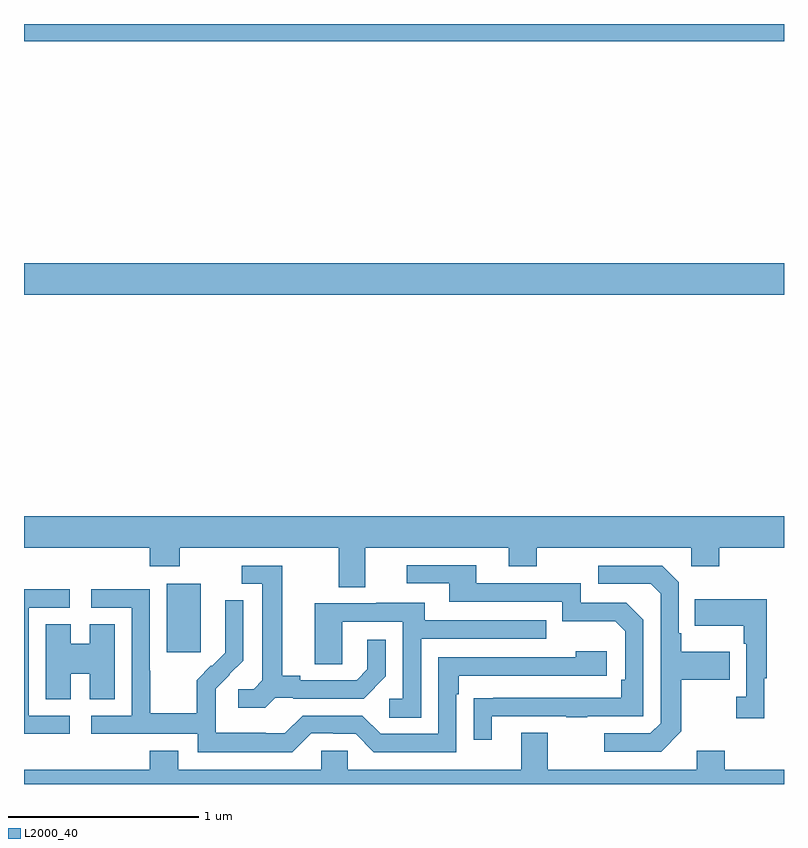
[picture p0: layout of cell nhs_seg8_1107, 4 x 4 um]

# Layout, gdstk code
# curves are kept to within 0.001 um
import gdstk
lib = gdstk.Library(unit=1e-6, precision=1e-09)
def R(c, l, rs):  # rectangles x0, y0, x1, y1
    for r in rs: c.add(gdstk.rectangle(r[:2], r[2:], *l))
def P(c, l, *ps):  # polygons
    for p in ps: c.add(gdstk.Polygon(p, *l))
L2000_40 = (2000, 40)

nhs_seg8_1107 = lib.new_cell('nhs_seg8_1107')
R(nhs_seg8_1107, L2000_40, [(181.751,1138.593,181.93,1138.954), (181,1140.476,185,1140.64), (181,1141.808,185,1141.9)])
P(nhs_seg8_1107, L2000_40, [(182.797,1139.144),(183.551,1139.144),(183.551,1139.045),(183.699,1139.045),(183.699,1139.144),(184.512,1139.144),(184.512,1139.045),(184.659,1139.045),(184.659,1139.144),(185,1139.144),(185,1139.308),(181,1139.308),(181,1139.144),(181.661,1139.144),(181.661,1139.045),(181.821,1139.045),(181.821,1139.144),(182.657,1139.144),(182.657,1138.936),(182.797,1138.936)],
  [(183.463,1138.257),(183.853,1138.257),(183.853,1138.252),(183.965,1138.252),(183.965,1138.257),(184.26,1138.257),(184.26,1138.764),(184.17,1138.854),(183.93,1138.854),(183.93,1138.956),(183.379,1138.956),(183.379,1139.052),(183.015,1139.052),(183.015,1138.956),(183.239,1138.956),(183.239,1138.86),(183.834,1138.86),(183.834,1138.757),(184.111,1138.757),(184.164,1138.704),(184.164,1138.45),(184.144,1138.45),(184.144,1138.353),(183.367,1138.352),(183.367,1138.134),(183.463,1138.134)],
  [(184.459,1138.177),(184.459,1138.45),(184.715,1138.45),(184.715,1138.597),(184.459,1138.597),(184.459,1138.693),(184.446,1138.693),(184.446,1138.962),(184.359,1139.049),(184.023,1139.049),(184.023,1138.953),(184.299,1138.953),(184.35,1138.902),(184.35,1138.221),(184.296,1138.167),(184.053,1138.167),(184.053,1138.071),(184.353,1138.071)],
  [(182.322,1138.353),(182.416,1138.353),(182.416,1138.35),(182.788,1138.35),(182.904,1138.466),(182.904,1138.66),(182.807,1138.66),(182.807,1138.503),(182.75,1138.446),(182.455,1138.446),(182.455,1138.469),(182.359,1138.469),(182.359,1139.049),(182.145,1139.049),(182.145,1138.953),(182.255,1138.953),(182.255,1138.445),(182.208,1138.398),(182.127,1138.398),(182.127,1138.301),(182.27,1138.301)],
  [(181.24,1138.26),(181.026,1138.26),(181.026,1138.827),(181.24,1138.827),(181.24,1138.926),(181,1138.926),(181,1138.164),(181.24,1138.164)],
  [(182.511,1138.167),(182.627,1138.167),(182.627,1138.164),(182.745,1138.164),(182.841,1138.068),(183.276,1138.068),(183.276,1138.373),(183.289,1138.373),(183.289,1138.47),(184.066,1138.47),(184.066,1138.6),(183.905,1138.6),(183.905,1138.566),(183.18,1138.566),(183.18,1138.164),(182.877,1138.164),(182.781,1138.26),(182.466,1138.26),(182.373,1138.167),(182.273,1138.167),(182.273,1138.171),(182.01,1138.171),(182.01,1138.305),(182.008,1138.305),(182.008,1138.402),(182.154,1138.55),(182.154,1138.868),(182.058,1138.868),(182.058,1138.714),(182.06,1138.714),(182.06,1138.592),(181.989,1138.521),(181.986,1138.524),(181.909,1138.447),(181.909,1138.273),(181.665,1138.273),(181.665,1138.496),(181.662,1138.496),(181.662,1138.926),(181.353,1138.926),(181.353,1138.827),(181.566,1138.827),(181.566,1138.26),(181.353,1138.26),(181.353,1138.164),(181.914,1138.164),(181.914,1138.067),(182.411,1138.067)],
  [(184.897,1138.457),(184.909,1138.457),(184.909,1138.873),(184.531,1138.873),(184.531,1138.733),(184.788,1138.733),(184.788,1138.637),(184.8,1138.637),(184.8,1138.358),(184.749,1138.358),(184.749,1138.245),(184.897,1138.245)],
  [(183.09,1138.665),(183.749,1138.665),(183.749,1138.761),(183.109,1138.761),(183.109,1138.855),(182.855,1138.855),(182.855,1138.851),(182.531,1138.851),(182.531,1138.531),(182.676,1138.531),(182.676,1138.755),(182.994,1138.755),(182.994,1138.35),(182.922,1138.35),(182.922,1138.249),(183.09,1138.249)],
  [(181.246,1138.481),(181.346,1138.481),(181.346,1138.345),(181.477,1138.345),(181.477,1138.742),(181.346,1138.742),(181.346,1138.639),(181.246,1138.639),(181.246,1138.742),(181.115,1138.742),(181.115,1138.345),(181.246,1138.345)],
  [(185,1137.976),(184.689,1137.976),(184.689,1138.075),(184.541,1138.075),(184.541,1137.976),(183.757,1137.976),(183.757,1138.171),(183.617,1138.171),(183.617,1137.976),(182.703,1137.976),(182.703,1138.074),(182.565,1138.074),(182.565,1137.976),(181.813,1137.976),(181.813,1138.075),(181.661,1138.075),(181.661,1137.976),(181,1137.976),(181,1137.9),(185,1137.9)])

lib.write_gds('nhs_seg8_1107.gds')
